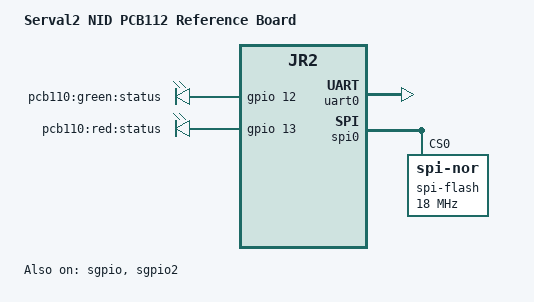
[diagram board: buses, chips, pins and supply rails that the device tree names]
// SPDX-License-Identifier: (GPL-2.0+ OR MIT)
/*
 * Copyright (c) 2018 Microsemi Corporation
 */

/dts-v1/;
#include "mscc,jr2.dtsi"

/ {
	model = "Serval2 NID PCB112 Reference Board";
	compatible = "mscc,serval2-pcb110", "mscc,jr2";

	aliases {
		spi0 = &spi0;
		serial0 = &uart0;
	};

	chosen {
		stdout-path = "serial0:115200n8";
	};

	gpio-leds {
		compatible = "gpio-leds";

		status_green {
			label = "pcb110:green:status";
			gpios = <&gpio 12 0>;
			default-state = "on";
		};

		status_red {
			label = "pcb110:red:status";
			gpios = <&gpio 13 0>;
			default-state = "off";
		};
	};
};

&uart0 {
	status = "okay";
};

&spi0 {
	status = "okay";
	spi-flash@0 {
		compatible = "jedec,spi-nor";
		spi-max-frequency = <18000000>; /* input clock */
		reg = <0>; /* CS0 */
	};
};

&sgpio {
	status = "okay";
	sgpio-ports = <0x0000ffff>;
};

&sgpio2 {
	status = "okay";
	sgpio-ports = <0x3fe0ffff>;
};
